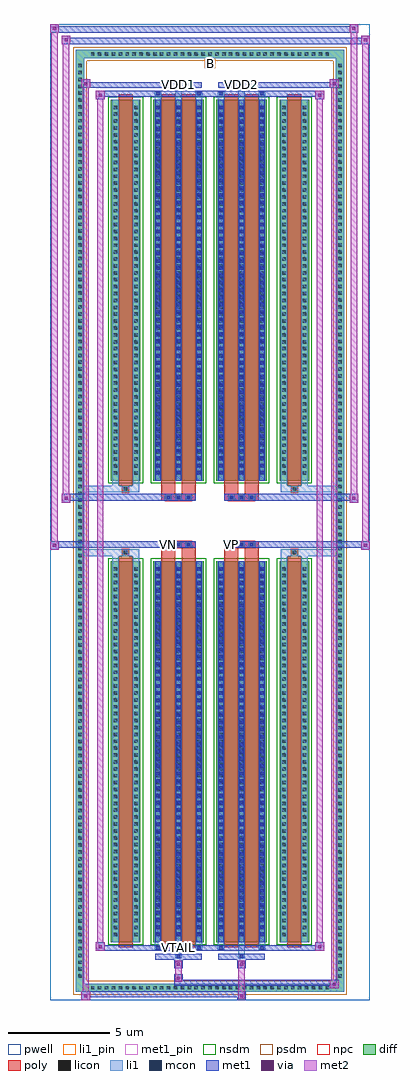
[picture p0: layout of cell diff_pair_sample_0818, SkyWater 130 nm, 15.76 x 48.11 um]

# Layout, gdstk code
import gdstk
lib = gdstk.Library(unit=1e-6, precision=5e-09)
def R(c, l, rs):  # rectangles x0, y0, x1, y1
    for r in rs: c.add(gdstk.rectangle(r[:2], r[2:], *l))
def A(c, l, x, y, w, h, nx, ny, dx, dy):  # array of equal rectangles
    R(c, l, [(x+i*dx, y+j*dy, x+i*dx+w, y+j*dy+h) for i in range(nx) for j in range(ny)])
def P(c, l, *ps):  # polygons
    for p in ps: c.add(gdstk.Polygon(p, *l))
pwell = (64, 44)
diff = (65, 20)
poly = (66, 20)
licon = (66, 44)
li1_pin = (67, 16)
li1 = (67, 20)
mcon = (67, 44)
met1_pin = (68, 16)
met1 = (68, 20)
via = (68, 44)
met2 = (69, 20)
nsdm = (93, 44)
psdm = (94, 20)
npc = (95, 20)

diff_pair_sample_0818 = lib.new_cell('diff_pair_sample_0818')
R(diff_pair_sample_0818, pwell, [(-7.88,-23.62,7.88,24.49), (-5.2,-21.81,-0.01,-0.795), (0.01,-21.81,5.2,-0.795), (-5.2,0.795,-0.01,21.81), (0.01,0.795,5.2,21.81)])
A(diff_pair_sample_0818, diff, -5.985, -23.22, 0.41, 0.41, 35, 2, 0.34, 46.03)
A(diff_pair_sample_0818, diff, -6.61, -22.645, 0.41, 0.41, 1, 133, 0, 0.34)
A(diff_pair_sample_0818, diff, 6.2, -22.645, 0.41, 0.41, 1, 133, 0, 0.34)
R(diff_pair_sample_0818, diff, [(-5.985,-23.22,5.985,-22.81), (-6.61,-22.645,-6.2,22.645), (6.2,-22.645,6.61,22.645), (-4.89,-20.765,-3.43,-1.985), (-2.79,-20.765,-0.32,-1.985), (0.32,-20.765,2.79,-1.985), (3.43,-20.765,4.89,-1.985), (-4.89,1.985,-3.43,20.765), (-2.79,1.985,-0.32,20.765), (0.32,1.985,2.79,20.765), (3.43,1.985,4.89,20.765), (-5.985,22.81,5.985,23.22)])
P(diff_pair_sample_0818, diff, [(6.61,23.22),(-6.61,23.22),(-6.61,-22.81),(-6.2,-22.81),(-6.2,22.81),(6.2,22.81),(6.2,-22.81),(-6.2,-22.81),(-6.61,-22.81),(-6.61,-23.22),(6.61,-23.22)])
A(diff_pair_sample_0818, poly, -2.22, -1.325, 0.33, 0.33, 3, 2, 0.5, 2.32)
A(diff_pair_sample_0818, poly, 0.89, -1.325, 0.33, 0.33, 3, 2, 0.5, 2.32)
R(diff_pair_sample_0818, poly, [(-4.5,-21.015,-3.82,-1.735), (-2.4,-21.015,-1.72,-1.735), (-1.39,-21.015,-0.71,-1.735), (0.71,-21.015,1.39,-1.735), (1.72,-21.015,2.4,-1.735), (3.82,-21.015,4.5,-1.735), (-4.325,-1.735,-3.995,-1.405), (-4.325,-1.735,-3.995,-1.405), (-2.4,-1.735,-1.72,-1.325), (-1.39,-1.735,-0.71,-1.325), (0.71,-1.735,1.39,-1.325), (1.72,-1.735,2.4,-1.325), (3.995,-1.735,4.325,-1.405), (3.995,-1.735,4.325,-1.405), (-2.4,-1.325,-0.71,-0.995), (0.71,-1.325,2.4,-0.995), (-2.4,0.995,-0.71,1.325), (0.71,0.995,2.4,1.325), (-2.4,1.325,-1.72,1.735), (-1.39,1.325,-0.71,1.735), (0.71,1.325,1.39,1.735), (1.72,1.325,2.4,1.735), (-4.325,1.405,-3.995,1.735), (-4.325,1.405,-3.995,1.735), (3.995,1.405,4.325,1.735), (3.995,1.405,4.325,1.735), (-4.5,1.735,-3.82,21.015), (-2.4,1.735,-1.72,21.015), (-1.39,1.735,-0.71,21.015), (0.71,1.735,1.39,21.015), (1.72,1.735,2.4,21.015), (3.82,1.735,4.5,21.015)])
A(diff_pair_sample_0818, licon, -5.865, -23.1, 0.17, 0.17, 35, 2, 0.34, 46.03)
A(diff_pair_sample_0818, licon, -6.49, -22.525, 0.17, 0.17, 1, 133, 0, 0.34)
A(diff_pair_sample_0818, licon, 6.32, -22.525, 0.17, 0.17, 1, 133, 0, 0.34)
A(diff_pair_sample_0818, licon, -4.75, -20.47, 0.17, 0.17, 1, 54, 0, 0.34)
A(diff_pair_sample_0818, licon, -3.74, -20.47, 0.17, 0.17, 1, 54, 0, 0.34)
A(diff_pair_sample_0818, licon, -2.65, -20.47, 0.17, 0.17, 3, 54, 1.01, 0.34)
A(diff_pair_sample_0818, licon, 0.46, -20.47, 0.17, 0.17, 3, 54, 1.01, 0.34)
A(diff_pair_sample_0818, licon, 3.57, -20.47, 0.17, 0.17, 1, 54, 0, 0.34)
A(diff_pair_sample_0818, licon, 4.58, -20.47, 0.17, 0.17, 1, 54, 0, 0.34)
A(diff_pair_sample_0818, licon, -2.14, -1.245, 0.17, 0.17, 3, 2, 0.5, 2.32)
A(diff_pair_sample_0818, licon, 0.97, -1.245, 0.17, 0.17, 3, 2, 0.5, 2.32)
A(diff_pair_sample_0818, licon, -4.75, 2.28, 0.17, 0.17, 1, 54, 0, 0.34)
A(diff_pair_sample_0818, licon, -3.74, 2.28, 0.17, 0.17, 1, 54, 0, 0.34)
A(diff_pair_sample_0818, licon, -2.65, 2.28, 0.17, 0.17, 3, 54, 1.01, 0.34)
A(diff_pair_sample_0818, licon, 0.46, 2.28, 0.17, 0.17, 3, 54, 1.01, 0.34)
A(diff_pair_sample_0818, licon, 3.57, 2.28, 0.17, 0.17, 1, 54, 0, 0.34)
A(diff_pair_sample_0818, licon, 4.58, 2.28, 0.17, 0.17, 1, 54, 0, 0.34)
R(diff_pair_sample_0818, licon, [(-4.245,-1.655,-4.075,-1.485), (4.075,-1.655,4.245,-1.485), (-4.245,1.485,-4.075,1.655), (4.075,1.485,4.245,1.655)])
R(diff_pair_sample_0818, li1_pin, [(-0.25,22.31,0.25,22.81)])
A(diff_pair_sample_0818, li1, -5.945, -23.18, 0.33, 0.33, 35, 2, 0.34, 46.03)
A(diff_pair_sample_0818, li1, -6.57, -22.605, 0.33, 0.33, 1, 133, 0, 0.34)
A(diff_pair_sample_0818, li1, 6.24, -22.605, 0.33, 0.33, 1, 133, 0, 0.34)
A(diff_pair_sample_0818, li1, -2.73, -20.765, 0.33, 18.78, 3, 2, 1.01, 22.75)
A(diff_pair_sample_0818, li1, 0.38, -20.765, 0.33, 18.78, 3, 2, 1.01, 22.75)
A(diff_pair_sample_0818, li1, -4.83, -20.55, 0.33, 0.33, 1, 54, 0, 0.34)
A(diff_pair_sample_0818, li1, -3.82, -20.55, 0.33, 0.33, 1, 54, 0, 0.34)
A(diff_pair_sample_0818, li1, -2.73, -20.55, 0.33, 0.33, 3, 54, 1.01, 0.34)
A(diff_pair_sample_0818, li1, 0.38, -20.55, 0.33, 0.33, 3, 54, 1.01, 0.34)
A(diff_pair_sample_0818, li1, 3.49, -20.55, 0.33, 0.33, 1, 54, 0, 0.34)
A(diff_pair_sample_0818, li1, 4.5, -20.55, 0.33, 0.33, 1, 54, 0, 0.34)
A(diff_pair_sample_0818, li1, -2.65, -20.46, 0.17, 0.17, 3, 51, 1.01, 0.36)
A(diff_pair_sample_0818, li1, -2.65, -20.46, 0.17, 18.17, 3, 2, 1.01, 22.75)
A(diff_pair_sample_0818, li1, 0.46, -20.46, 0.17, 0.17, 3, 51, 1.01, 0.36)
A(diff_pair_sample_0818, li1, 0.46, -20.46, 0.17, 18.17, 3, 2, 1.01, 22.75)
A(diff_pair_sample_0818, li1, -2.22, -1.325, 0.33, 0.33, 3, 2, 0.5, 2.32)
A(diff_pair_sample_0818, li1, 0.89, -1.325, 0.33, 0.33, 3, 2, 0.5, 2.32)
A(diff_pair_sample_0818, li1, -4.83, 2.2, 0.33, 0.33, 1, 54, 0, 0.34)
A(diff_pair_sample_0818, li1, -3.82, 2.2, 0.33, 0.33, 1, 54, 0, 0.34)
A(diff_pair_sample_0818, li1, -2.73, 2.2, 0.33, 0.33, 3, 54, 1.01, 0.34)
A(diff_pair_sample_0818, li1, 0.38, 2.2, 0.33, 0.33, 3, 54, 1.01, 0.34)
A(diff_pair_sample_0818, li1, 3.49, 2.2, 0.33, 0.33, 1, 54, 0, 0.34)
A(diff_pair_sample_0818, li1, 4.5, 2.2, 0.33, 0.33, 1, 54, 0, 0.34)
A(diff_pair_sample_0818, li1, -2.65, 2.29, 0.17, 0.17, 3, 51, 1.01, 0.36)
A(diff_pair_sample_0818, li1, 0.46, 2.29, 0.17, 0.17, 3, 51, 1.01, 0.36)
R(diff_pair_sample_0818, li1, [(-6.61,-23.22,-6.2,-22.81), (-6.61,-23.22,-6.2,-22.81), (-6.2,-23.22,6.2,-22.81), (6.2,-23.22,6.61,-22.81), (6.2,-23.22,6.61,-22.81), (-6.61,-22.81,-6.2,22.81), (6.2,-22.81,6.61,22.81), (-1.72,-21.57,-1.39,-20.765), (-1.64,-21.57,-1.47,-21.4), (1.39,-21.57,1.72,-20.765), (1.47,-21.57,1.64,-21.4), (-2.73,-21.14,-2.4,-20.765), (-2.65,-21.14,-2.48,-20.97), (-0.71,-21.14,-0.38,-20.765), (-0.63,-21.14,-0.46,-20.97), (0.38,-21.14,0.71,-20.765), (0.46,-21.14,0.63,-20.97), (2.4,-21.14,2.73,-20.765), (2.48,-21.14,2.65,-20.97), (-4.83,-20.765,-4.5,-1.985), (-3.82,-20.765,-3.49,-1.985), (3.49,-20.765,3.82,-1.985), (4.5,-20.765,4.83,-1.985), (-4.83,-1.985,-4.5,-1.405), (-3.82,-1.985,-3.49,-1.405), (3.49,-1.985,3.82,-1.405), (4.5,-1.985,4.83,-1.405), (-6.61,-1.735,-4.325,-1.405), (-4.83,-1.735,-4.325,-1.405), (-4.325,-1.735,-3.995,-1.405), (-3.995,-1.735,-3.49,-1.405), (3.49,-1.735,3.995,-1.405), (3.995,-1.735,4.325,-1.405), (3.995,-1.735,6.61,-1.405), (4.325,-1.735,4.83,-1.405), (-6.61,1.405,-4.325,1.735), (-4.83,1.405,-4.325,1.735), (-4.83,1.405,-4.5,1.985), (-4.325,1.405,-3.995,1.735), (-3.995,1.405,-3.49,1.735), (-3.82,1.405,-3.49,1.985), (3.49,1.405,3.995,1.735), (3.49,1.405,3.82,1.985), (3.995,1.405,4.325,1.735), (3.995,1.405,6.61,1.735), (4.325,1.405,4.83,1.735), (4.5,1.405,4.83,1.985), (-4.83,1.985,-4.5,20.765), (-3.82,1.985,-3.49,20.765), (3.49,1.985,3.82,20.765), (4.5,1.985,4.83,20.765), (-2.73,20.765,-2.4,21.14), (-1.72,20.765,-1.39,21.57), (-0.71,20.765,-0.38,21.14), (0.38,20.765,0.71,21.14), (1.39,20.765,1.72,21.57), (2.4,20.765,2.73,21.14), (-2.65,20.97,-2.48,21.14), (-0.63,20.97,-0.46,21.14), (0.46,20.97,0.63,21.14), (2.48,20.97,2.65,21.14), (-1.64,21.4,-1.47,21.57), (1.47,21.4,1.64,21.57), (-6.61,22.81,-6.2,23.22), (-6.61,22.81,-6.2,23.22), (-6.2,22.81,6.2,23.22), (6.2,22.81,6.61,23.22), (6.2,22.81,6.61,23.22)])
A(diff_pair_sample_0818, mcon, -2.65, -20.46, 0.17, 0.17, 3, 51, 1.01, 0.36)
A(diff_pair_sample_0818, mcon, 0.46, -20.46, 0.17, 0.17, 3, 51, 1.01, 0.36)
A(diff_pair_sample_0818, mcon, -2.14, -1.245, 0.17, 0.17, 3, 2, 0.5, 2.32)
A(diff_pair_sample_0818, mcon, 0.97, -1.245, 0.17, 0.17, 3, 2, 0.5, 2.32)
A(diff_pair_sample_0818, mcon, -2.65, 2.29, 0.17, 0.17, 3, 51, 1.01, 0.36)
A(diff_pair_sample_0818, mcon, 0.46, 2.29, 0.17, 0.17, 3, 51, 1.01, 0.36)
R(diff_pair_sample_0818, mcon, [(-1.64,-21.57,-1.47,-21.4), (1.47,-21.57,1.64,-21.4), (-2.65,-21.14,-2.48,-20.97), (-0.63,-21.14,-0.46,-20.97), (0.46,-21.14,0.63,-20.97), (2.48,-21.14,2.65,-20.97), (-2.65,20.97,-2.48,21.14), (-0.63,20.97,-0.46,21.14), (0.46,20.97,0.63,21.14), (2.48,20.97,2.65,21.14), (-1.64,21.4,-1.47,21.57), (1.47,21.4,1.64,21.57)])
R(diff_pair_sample_0818, met1_pin, [(-1.69,-21.18,-1.42,-20.91), (-2.19,-1.285,-1.92,-1.015), (0.92,-1.285,1.19,-1.015), (-1.69,21.36,-1.42,21.63), (1.42,21.36,1.69,21.63)])
A(diff_pair_sample_0818, met1, -2.71, -20.765, 0.29, 18.78, 3, 2, 1.01, 22.75)
A(diff_pair_sample_0818, met1, 0.4, -20.765, 0.29, 18.78, 3, 2, 1.01, 22.75)
A(diff_pair_sample_0818, met1, -2.71, -20.52, 0.29, 0.29, 3, 51, 1.01, 0.36)
A(diff_pair_sample_0818, met1, 0.4, -20.52, 0.29, 0.29, 3, 51, 1.01, 0.36)
A(diff_pair_sample_0818, met1, -2.2, -1.305, 0.29, 0.29, 3, 2, 0.5, 2.32)
A(diff_pair_sample_0818, met1, 0.91, -1.305, 0.29, 0.29, 3, 2, 0.5, 2.32)
A(diff_pair_sample_0818, met1, -2.71, 2.23, 0.29, 0.29, 3, 51, 1.01, 0.36)
A(diff_pair_sample_0818, met1, 0.4, 2.23, 0.29, 0.29, 3, 51, 1.01, 0.36)
R(diff_pair_sample_0818, met1, [(-6.34,-23.62,-5.91,-23.19), (1.34,-23.62,1.77,-23.19), (-6.34,-23.48,1.77,-23.19), (5.91,-23.05,6.34,-22.62), (-1.77,-22.91,6.34,-22.62), (-1.77,-22.77,-1.34,-22.34), (-1.77,-22.06,-1.34,-21.63), (1.34,-22.06,1.77,-21.63), (-2.71,-21.63,-0.4,-21.34), (-1.7,-21.63,-1.41,-21.34), (0.4,-21.63,2.71,-21.34), (1.41,-21.63,1.7,-21.34), (-5.63,-21.2,-5.2,-20.77), (-5.63,-21.2,-2.71,-20.91), (-2.71,-21.2,-2.42,-20.91), (-2.71,-21.2,-0.4,-20.91), (-0.69,-21.2,-0.4,-20.91), (-0.4,-21.2,0.4,-20.91), (0.4,-21.2,0.69,-20.91), (0.4,-21.2,2.71,-20.91), (2.42,-21.2,2.71,-20.91), (2.71,-21.2,5.63,-20.91), (5.2,-21.2,5.63,-20.77), (-7.88,-1.425,-7.45,-0.995), (7.45,-1.425,7.88,-0.995), (-7.88,-1.325,-0.71,-0.995), (-2.4,-1.325,-0.71,-0.995), (0.71,-1.325,2.4,-0.995), (0.71,-1.325,7.88,-0.995), (-7.31,0.895,-6.88,1.325), (6.88,0.895,7.31,1.325), (-7.31,0.995,-2.4,1.325), (-2.4,0.995,-0.71,1.325), (0.71,0.995,2.4,1.325), (2.4,0.995,7.31,1.325), (-5.63,20.77,-5.2,21.2), (5.2,20.77,5.63,21.2), (-5.63,20.91,-2.71,21.2), (-2.71,20.91,-2.42,21.2), (-2.71,20.91,-0.4,21.2), (-0.69,20.91,-0.4,21.2), (-0.4,20.91,0.4,21.2), (0.4,20.91,0.69,21.2), (0.4,20.91,2.71,21.2), (2.42,20.91,2.71,21.2), (2.71,20.91,5.63,21.2), (-6.34,21.34,-5.91,21.77), (-6.34,21.34,-2.71,21.63), (-2.71,21.34,-0.4,21.63), (-1.7,21.34,-1.41,21.63), (0.4,21.34,2.71,21.63), (1.41,21.34,1.7,21.63), (2.71,21.34,6.34,21.63), (5.91,21.34,6.34,21.77), (-7.31,23.49,-6.88,23.92), (-7.31,23.49,-5.2,23.82), (-5.2,23.49,5.2,23.82), (5.2,23.49,7.88,23.82), (7.45,23.49,7.88,23.92), (-7.88,24.06,-7.45,24.49), (-7.88,24.06,-5.2,24.39), (-5.2,24.06,5.2,24.39), (5.2,24.06,7.31,24.39), (6.88,24.06,7.31,24.49)])
R(diff_pair_sample_0818, via, [(-6.2,-23.48,-6.05,-23.33), (1.48,-23.48,1.63,-23.33), (6.05,-22.91,6.2,-22.76), (-1.63,-22.63,-1.48,-22.48), (-1.63,-21.92,-1.48,-21.77), (1.48,-21.92,1.63,-21.77), (-5.49,-21.06,-5.34,-20.91), (5.34,-21.06,5.49,-20.91), (-7.74,-1.285,-7.59,-1.135), (7.59,-1.285,7.74,-1.135), (-7.17,1.035,-7.02,1.185), (7.02,1.035,7.17,1.185), (-5.49,20.91,-5.34,21.06), (5.34,20.91,5.49,21.06), (-6.2,21.48,-6.05,21.63), (6.05,21.48,6.2,21.63), (-7.17,23.63,-7.02,23.78), (7.59,23.63,7.74,23.78), (-7.74,24.2,-7.59,24.35), (7.02,24.2,7.17,24.35)])
R(diff_pair_sample_0818, met2, [(-6.34,-23.62,-5.91,-23.19), (-6.27,-23.62,-5.98,21.77), (-5.98,-23.62,-5.91,-23.19), (-6.29,-23.57,-5.96,-23.24), (1.39,-23.57,1.72,-23.24), (1.39,-23.24,1.72,-22.01), (5.91,-23.05,6.34,-22.62), (5.98,-23.05,6.27,21.77), (6.27,-23.05,6.34,-22.62), (5.96,-23,6.29,-22.67), (-1.72,-22.72,-1.39,-22.39), (-1.72,-22.39,-1.39,-22.01), (-1.72,-22.01,-1.39,-21.68), (1.39,-22.01,1.72,-21.68), (-5.63,-21.2,-5.2,-20.77), (-5.56,-21.2,-5.27,21.2), (-5.27,-21.2,-5.2,-20.77), (5.2,-21.2,5.63,-20.77), (5.27,-21.2,5.56,21.2), (5.56,-21.2,5.63,-20.77), (-5.58,-21.15,-5.25,-20.82), (5.25,-21.15,5.58,-20.82), (-7.88,-1.425,-7.45,-0.995), (-7.83,-1.425,-7.5,24.49), (-7.5,-1.425,-7.45,-0.995), (7.45,-1.425,7.88,-0.995), (7.5,-1.425,7.83,23.92), (7.83,-1.425,7.88,-0.995), (-7.83,-1.375,-7.5,-1.045), (7.5,-1.375,7.83,-1.045), (-7.31,0.895,-6.88,1.325), (-7.26,0.895,-6.93,23.92), (-6.93,0.895,-6.88,1.325), (6.88,0.895,7.31,1.325), (6.93,0.895,7.26,24.49), (7.26,0.895,7.31,1.325), (-7.26,0.945,-6.93,1.275), (6.93,0.945,7.26,1.275), (-5.63,20.77,-5.2,21.2), (-5.27,20.77,-5.2,21.2), (5.2,20.77,5.63,21.2), (5.56,20.77,5.63,21.2), (-5.58,20.82,-5.25,21.15), (5.25,20.82,5.58,21.15), (-6.34,21.34,-5.91,21.77), (-5.98,21.34,-5.91,21.77), (5.91,21.34,6.34,21.77), (6.27,21.34,6.34,21.77), (-6.29,21.39,-5.96,21.72), (5.96,21.39,6.29,21.72), (-7.31,23.49,-6.88,23.92), (-6.93,23.49,-6.88,23.92), (7.45,23.49,7.88,23.92), (7.83,23.49,7.88,23.92), (-7.26,23.54,-6.93,23.87), (7.5,23.54,7.83,23.87), (-7.88,24.06,-7.45,24.49), (-7.5,24.06,-7.45,24.49), (6.88,24.06,7.31,24.49), (7.26,24.06,7.31,24.49), (-7.83,24.11,-7.5,24.44), (6.93,24.11,7.26,24.44)])
R(diff_pair_sample_0818, nsdm, [(-5.02,-20.895,-3.3,-1.855), (-2.92,-20.895,-0.19,-1.855), (0.19,-20.895,2.92,-1.855), (3.3,-20.895,5.02,-1.855), (-5.02,1.855,-3.3,20.895), (-2.92,1.855,-0.19,20.895), (0.19,1.855,2.92,20.895), (3.3,1.855,5.02,20.895)])
P(diff_pair_sample_0818, psdm, [(6.74,23.35),(-6.74,23.35),(-6.74,-22.68),(-6.07,-22.68),(-6.07,22.68),(6.07,22.68),(6.07,-22.68),(-6.07,-22.68),(-6.74,-22.68),(-6.74,-23.35),(6.74,-23.35)])
A(diff_pair_sample_0818, npc, -2.24, -1.345, 0.37, 0.37, 3, 2, 0.5, 2.32)
A(diff_pair_sample_0818, npc, 0.87, -1.345, 0.37, 0.37, 3, 2, 0.5, 2.32)
R(diff_pair_sample_0818, npc, [(-4.345,-1.755,-3.975,-1.385), (3.975,-1.755,4.345,-1.385), (-2.24,-1.345,-1.37,-0.975), (-2.24,-1.345,-1.37,-0.975), (-1.74,-1.345,-0.87,-0.975), (-1.74,-1.345,-0.87,-0.975), (0.87,-1.345,1.74,-0.975), (0.87,-1.345,1.74,-0.975), (1.37,-1.345,2.24,-0.975), (1.37,-1.345,2.24,-0.975), (-2.24,0.975,-1.37,1.345), (-2.24,0.975,-1.37,1.345), (-1.74,0.975,-0.87,1.345), (-1.74,0.975,-0.87,1.345), (0.87,0.975,1.74,1.345), (0.87,0.975,1.74,1.345), (1.37,0.975,2.24,1.345), (1.37,0.975,2.24,1.345), (-4.345,1.385,-3.975,1.755), (3.975,1.385,4.345,1.755)])
diff_pair_sample_0818.add(gdstk.Label('VTAIL', (-1.555,-21.045), layer=68, texttype=5))
diff_pair_sample_0818.add(gdstk.Label('VN', (-2.055,-1.15), layer=68, texttype=5))
diff_pair_sample_0818.add(gdstk.Label('VP', (1.055,-1.15), layer=68, texttype=5))
diff_pair_sample_0818.add(gdstk.Label('B', (0,22.56), layer=67, texttype=5))
diff_pair_sample_0818.add(gdstk.Label('VDD2', (1.555,21.495), layer=68, texttype=5))
diff_pair_sample_0818.add(gdstk.Label('VDD1', (-1.555,21.495), layer=68, texttype=5))

lib.write_gds('diff_pair_sample_0818.gds')
